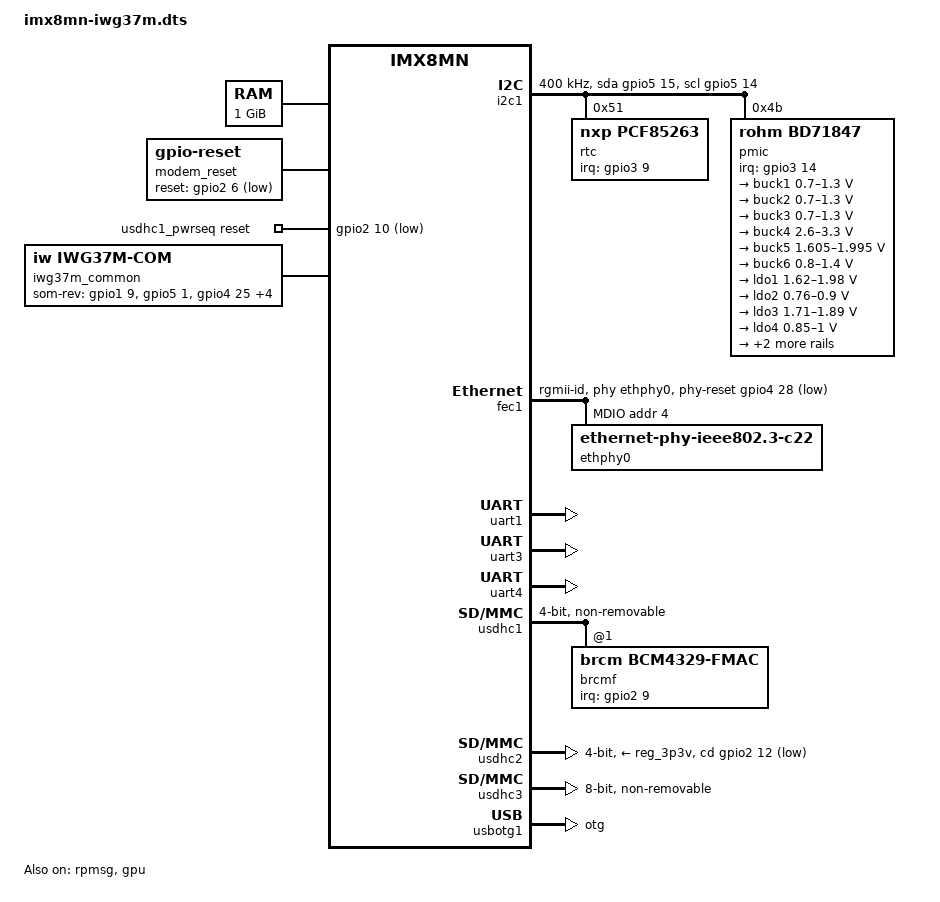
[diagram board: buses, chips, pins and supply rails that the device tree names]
/*
 * Copyright (C) 2020 iWave System Technologies Pvt Ltd.
 *
 * This program is free software; you can redistribute it and/or
 * modify it under the terms of the GNU General Public License
 * as published by the Free Software Foundation; either version 2
 * of the License, or (at your option) any later version.
 *
 * This program is distributed in the hope that it will be useful,
 * but WITHOUT ANY WARRANTY; without even the implied warranty of
 * MERCHANTABILITY or FITNESS FOR A PARTICULAR PURPOSE.  See the
 * GNU General Public License for more details.
 */

/dts-v1/;

#include <dt-bindings/usb/pd.h>
#include "imx8mn.dtsi"

/ {

	aliases { /* SD/MMC: eMMC/SD slot numbering fix */
                mmc0 = &usdhc3;
                mmc1 = &usdhc2;
                mmc2 = &usdhc1;
        };

	chosen {
		bootargs = "console=ttymxc3,115200 earlycon=ec_imx6q,0x30a60000,115200";
		stdout-path = &uart4;
	};

	memory@40000000 { /* RAM: 1GB Memory support */
		device_type = "memory";
		reg = <0x0 0x40000000 0 0x40000000>;
	};

	reserved-memory { /* RAM: 1GB Memory support */
		#address-cells = <2>;
		#size-cells = <2>;
		ranges;

		/* global autoconfigured region for contiguous allocations */
		linux,cma {
			compatible = "shared-dma-pool";
			reusable;
			size = <0 0x14000000>;
			alloc-ranges = <0 0x40000000 0 0x30000000>;
			linux,cma-default;
		};

		m_core_reserved: m_core@0x60000000 {
                        no-map;
                        reg = <0 0x60000000 0 0x1000000>;
                };

                vdev0vring0: vdev0vring0@78000000 {
                        compatible = "shared-dma-pool";
                        reg = <0 0x78000000 0 0x8000>;
                        no-map;
                };

                vdev0vring1: vdev0vring1@78008000 {
                        compatible = "shared-dma-pool";
                        reg = <0 0x78008000 0 0x8000>;
                        no-map;
                };
                vdevbuffer: vdevbuffer@78400000 {
                        compatible = "shared-dma-pool";
                        reg = <0 0x78400000 0 0x100000>;
                        no-map;
                };
	};

	modem_reset: modem-reset { /* BT: BT reset */
		compatible = "gpio-reset";
		reset-gpios = <&gpio2 6 GPIO_ACTIVE_LOW>;
		reset-delay-us = <2000>;
		reset-post-delay-ms = <40>;
		#reset-cells = <0>;
	};

	usdhc1_pwrseq: usdhc1_pwrseq { /* WIFI: WIFI power sequence */
		compatible = "mmc-pwrseq-simple";
		pinctrl-names = "default";
		pinctrl-0 = <&pinctrl_usdhc1_gpio>;
		reset-gpios = <&gpio2 10 GPIO_ACTIVE_LOW>;
	};

	iwg37m_common { /* SoC Board Setttings : Board Configuration GPIOs */
		compatible = "iw,iwg37m-com";
		pinctrl-names = "default";
		pinctrl-0 = <&pinctrl_board_cfg>;
		som-rev-gpios = <&gpio1 9 0 &gpio5 1 0 &gpio4 25 0 &gpio4 26 0
				&gpio4 27 0 &gpio2 19 0 &gpio2 20 0 >;
		status = "okay";
	};

	imx8mn-cm7 {
                compatible = "fsl,imx8mn-cm7";
                rsc-da = <0x78000000>;
                mbox-names = "tx", "rx", "rxdb";
                mboxes = <&mu 0 1
                          &mu 1 1
                          &mu 3 1>;
                memory-region = <&vdev0vring0>, <&vdev0vring1>, <&vdevbuffer>;
                status = "okay";
        };
};

&rpmsg{
        /*
         * 64K for one rpmsg instance:
         * --0x78000000~0x7800ffff: pingpong
         */
        vdev-nums = <1>;
        reg = <0x0 0x78000000 0x0 0x10000>;
        memory-region = <&vdevbuffer>;
        status = "okay";
};

&iomuxc {
	pinctrl-names = "default";
	imx8mn-iwg37m {

		pinctrl_fec1: fec1grp { /* Ethernet: IOMUX Pin Configuration */
			fsl,pins = <
				MX8MN_IOMUXC_ENET_MDC_ENET1_MDC			0x3
				MX8MN_IOMUXC_ENET_MDIO_ENET1_MDIO		0x3
				MX8MN_IOMUXC_ENET_TD3_ENET1_RGMII_TD3		0x1f
				MX8MN_IOMUXC_ENET_TD2_ENET1_RGMII_TD2		0x1f
				MX8MN_IOMUXC_ENET_TD1_ENET1_RGMII_TD1		0x1f
				MX8MN_IOMUXC_ENET_TD0_ENET1_RGMII_TD0		0x1f
				MX8MN_IOMUXC_ENET_RD3_ENET1_RGMII_RD3		0x91
				MX8MN_IOMUXC_ENET_RD2_ENET1_RGMII_RD2		0x91
				MX8MN_IOMUXC_ENET_RD1_ENET1_RGMII_RD1		0x91
				MX8MN_IOMUXC_ENET_RD0_ENET1_RGMII_RD0		0x91
				MX8MN_IOMUXC_ENET_TXC_ENET1_RGMII_TXC		0x1f
				MX8MN_IOMUXC_ENET_RXC_ENET1_RGMII_RXC		0x91
				MX8MN_IOMUXC_ENET_RX_CTL_ENET1_RGMII_RX_CTL	0x91
				MX8MN_IOMUXC_ENET_TX_CTL_ENET1_RGMII_TX_CTL	0x1f
				MX8MN_IOMUXC_SAI3_RXFS_GPIO4_IO28		0x19 /* Ethernet Reset GPIO */
			>;
		};

		pinctrl_flexspi0: flexspi0grp { /* QSPI : IOMUX Pin Configuration */
			fsl,pins = <
				MX8MN_IOMUXC_NAND_ALE_QSPI_A_SCLK 		0x1c4
				MX8MN_IOMUXC_NAND_CE0_B_QSPI_A_SS0_B 		0x84

				MX8MN_IOMUXC_NAND_DATA00_QSPI_A_DATA0 		0x84
				MX8MN_IOMUXC_NAND_DATA01_QSPI_A_DATA1 		0x84
				MX8MN_IOMUXC_NAND_DATA02_QSPI_A_DATA2 		0x84
			>;
		};

		pinctrl_ecspi1: ecspi1grp { /* ECSPI : ECSPI1 IOMUX Pin Configuration */
			fsl,pins = <
				MX8MN_IOMUXC_ECSPI1_SCLK_ECSPI1_SCLK		0x82
				MX8MN_IOMUXC_ECSPI1_MOSI_ECSPI1_MOSI		0x82
				MX8MN_IOMUXC_ECSPI1_MISO_ECSPI1_MISO		0x82
			>;
		};

		pinctrl_ecspi1_cs: ecspi1cs { /* ECSPI : ECSPI1 SS IOMUX Pin Configuration */
			fsl,pins = <
				MX8MN_IOMUXC_ECSPI1_SS0_GPIO5_IO9		0x40000
			>;
		};

		pinctrl_ecspi2: ecspi2grp { /* ECSPI : ECSPI2 IOMUX Pin Configuration */
			fsl,pins = <
				MX8MN_IOMUXC_ECSPI2_SCLK_ECSPI2_SCLK		0x82
				MX8MN_IOMUXC_ECSPI2_MOSI_ECSPI2_MOSI		0x82
				MX8MN_IOMUXC_ECSPI2_MISO_ECSPI2_MISO		0x82
			>;
		};

		pinctrl_ecspi2_cs: ecspi2cs { /* ECSPI : ECSPI2 SS IOMUX Pin Configuration */
			fsl,pins = <
				MX8MN_IOMUXC_ECSPI2_SS0_GPIO5_IO13		0x40000
			>;
		};

		pinctrl_ecspi3: ecspi3grp { /* ECSPI : ECSPI3 IOMUX Pin Configuration */
			fsl,pins = <
				MX8MN_IOMUXC_UART1_RXD_ECSPI3_SCLK		0x82
				MX8MN_IOMUXC_UART1_TXD_ECSPI3_MOSI		0x82
				MX8MN_IOMUXC_UART2_RXD_ECSPI3_MISO		0x82
			>;
		};

		pinctrl_ecspi3_cs: ecspi3cs { /* ECSPI : ECSPI2 SS IOMUX Pin Configuration */
			fsl,pins = <
				MX8MN_IOMUXC_UART2_TXD_GPIO5_IO25		0x40000
			>;
		};

		pinctrl_i2c1: i2c1grp { /* I2C1: IOMUX Pin Configuration */
			fsl,pins = <
				MX8MN_IOMUXC_I2C1_SCL_I2C1_SCL			0x400001c3
				MX8MN_IOMUXC_I2C1_SDA_I2C1_SDA			0x400001c3
			>;
		};

		pinctrl_i2c1_gpio: i2c1grp-gpio { /* I2C1: I2C GPIO IOMUX Pin Configuration */
			fsl,pins = <
				MX8MN_IOMUXC_I2C1_SCL_GPIO5_IO14		0x1c3
				MX8MN_IOMUXC_I2C1_SDA_GPIO5_IO15		0x1c3
			>;
		};

		pinctrl_pmic: pmicirq { /* PMIC: IOMUX Pin Configuration */
			fsl,pins = <
				MX8MN_IOMUXC_NAND_DQS_GPIO3_IO14		0x41 /* PMIC Interrupt GPIO */
			>;
		};

		pinctrl_rtc: rtcirq { /* RTC: IOMUX Pin Configuration */
			fsl,pins = <
				MX8MN_IOMUXC_NAND_DATA03_GPIO3_IO9		0x41 /* RTC Interrupt GPIO */
			>;
		};

		pinctrl_uart1: uart1grp { /* UART1: Bluetooth: IOMUX Pin Configuration */
			fsl,pins = <
				MX8MN_IOMUXC_SAI2_RXFS_UART1_DCE_TX		0x140
				MX8MN_IOMUXC_SAI2_RXC_UART1_DCE_RX		0x140
				MX8MN_IOMUXC_SAI2_RXD0_UART1_DCE_RTS_B		0x140
				MX8MN_IOMUXC_SAI2_TXFS_UART1_DCE_CTS_B		0x140
				MX8MN_IOMUXC_SD1_DATA4_GPIO2_IO6		0x19
			>;
		};

		pinctrl_uart3: uart3grp { /* UART3: M4 UART: IOMUX Pin Configuration */
			fsl,pins = <
				MX8MN_IOMUXC_UART3_TXD_UART3_DCE_TX		0x140
				MX8MN_IOMUXC_UART3_RXD_UART3_DCE_RX		0x140
			>;
		};

		pinctrl_uart4: uart4grp { /* UART4: Debug UART: IOMUX Pin Configuration */
			fsl,pins = <
				MX8MN_IOMUXC_UART4_RXD_UART4_DCE_RX		0x140
				MX8MN_IOMUXC_UART4_TXD_UART4_DCE_TX		0x140
			>;
		};

		pinctrl_usdhc1_gpio: usdhc1grpgpio {
			fsl,pins = <
				MX8MN_IOMUXC_SD1_RESET_B_GPIO2_IO10		0x41 /* USDHC1: WiFi: Reset GPIO IOMUX Pin Configuration */
			>;
		};

		pinctrl_usdhc1: usdhc1grp { /* USDHC1: SOM Micro SD/WiFi: IOMUX Pin Configuration */
			fsl,pins = <
				MX8MN_IOMUXC_SD1_CLK_USDHC1_CLK			0x190
				MX8MN_IOMUXC_SD1_CMD_USDHC1_CMD			0x1d0
				MX8MN_IOMUXC_SD1_DATA0_USDHC1_DATA0		0x1d0
				MX8MN_IOMUXC_SD1_DATA1_USDHC1_DATA1		0x1d0
				MX8MN_IOMUXC_SD1_DATA2_USDHC1_DATA2		0x1d0
				MX8MN_IOMUXC_SD1_DATA3_USDHC1_DATA3		0x1d0
				MX8MN_IOMUXC_SD1_STROBE_GPIO2_IO11      	0x159
				MX8MN_IOMUXC_GPIO1_IO03_GPIO1_IO3       	0x016
			>;
		};

		pinctrl_usdhc1_100mhz: usdhc1grp100mhz {
			fsl,pins = <
				MX8MN_IOMUXC_SD1_CLK_USDHC1_CLK			0x194
				MX8MN_IOMUXC_SD1_CMD_USDHC1_CMD			0x1d4
				MX8MN_IOMUXC_SD1_DATA0_USDHC1_DATA0		0x1d4
				MX8MN_IOMUXC_SD1_DATA1_USDHC1_DATA1		0x1d4
				MX8MN_IOMUXC_SD1_DATA2_USDHC1_DATA2		0x1d4
				MX8MN_IOMUXC_SD1_DATA3_USDHC1_DATA3		0x1d4
				MX8MN_IOMUXC_SD1_STROBE_GPIO2_IO11      	0x159
				MX8MN_IOMUXC_GPIO1_IO03_GPIO1_IO3       	0x016
			>;
		};

		pinctrl_usdhc1_200mhz: usdhc1grp200mhz {
			fsl,pins = <
				MX8MN_IOMUXC_SD1_CLK_USDHC1_CLK			0x196
				MX8MN_IOMUXC_SD1_CMD_USDHC1_CMD			0x1d6
				MX8MN_IOMUXC_SD1_DATA0_USDHC1_DATA0		0x1d6
				MX8MN_IOMUXC_SD1_DATA1_USDHC1_DATA1		0x1d6
				MX8MN_IOMUXC_SD1_DATA2_USDHC1_DATA2		0x1d6
				MX8MN_IOMUXC_SD1_DATA3_USDHC1_DATA3		0x1d6
				MX8MN_IOMUXC_SD1_STROBE_GPIO2_IO11      	0x159
				MX8MN_IOMUXC_GPIO1_IO03_GPIO1_IO3       	0x016
			>;
		};

		pinctrl_wlan: wlangrp { /* WiFi: IOMUX Pin Configuration */
                        fsl,pins = <
                                MX8MN_IOMUXC_SD1_DATA7_GPIO2_IO9                0x111 /* WIFI Host Wake GPIO */
                        >;
                };

		pinctrl_usdhc2_gpio: usdhc2grpgpio { /* USDHC2: Carrier Micro SD: Card Detect GPIO IOMUX Pin Configuration */
			fsl,pins = <
				MX8MN_IOMUXC_SD2_CD_B_GPIO2_IO12        	0x41 /* SD2 Card Detect GPIO */
			>;
		};

		pinctrl_usdhc2: usdhc2grp { /* USDHC2: Carrier Micro SD: IOMUX Pin Configuration */
			fsl,pins = <
				MX8MN_IOMUXC_SD2_CLK_USDHC2_CLK			0x190
				MX8MN_IOMUXC_SD2_CMD_USDHC2_CMD			0x1d0
				MX8MN_IOMUXC_SD2_DATA0_USDHC2_DATA0		0x1d0
				MX8MN_IOMUXC_SD2_DATA1_USDHC2_DATA1		0x1d0
				MX8MN_IOMUXC_SD2_DATA2_USDHC2_DATA2		0x1d0
				MX8MN_IOMUXC_SD2_DATA3_USDHC2_DATA3		0x1d0
				MX8MN_IOMUXC_GPIO1_IO04_USDHC2_VSELECT		0x1d0
			>;
		};

		pinctrl_usdhc2_100mhz: usdhc2grp100mhz {
			fsl,pins = <
				MX8MN_IOMUXC_SD2_CLK_USDHC2_CLK			0x194
				MX8MN_IOMUXC_SD2_CMD_USDHC2_CMD			0x1d4
				MX8MN_IOMUXC_SD2_DATA0_USDHC2_DATA0		0x1d4
				MX8MN_IOMUXC_SD2_DATA1_USDHC2_DATA1		0x1d4
				MX8MN_IOMUXC_SD2_DATA2_USDHC2_DATA2		0x1d4
				MX8MN_IOMUXC_SD2_DATA3_USDHC2_DATA3		0x1d4
				MX8MN_IOMUXC_GPIO1_IO04_USDHC2_VSELECT		0x1d0
			>;
		};

		pinctrl_usdhc2_200mhz: usdhc2grp200mhz {
			fsl,pins = <
				MX8MN_IOMUXC_SD2_CLK_USDHC2_CLK			0x196
				MX8MN_IOMUXC_SD2_CMD_USDHC2_CMD			0x1d6
				MX8MN_IOMUXC_SD2_DATA0_USDHC2_DATA0		0x1d6
				MX8MN_IOMUXC_SD2_DATA1_USDHC2_DATA1		0x1d6
				MX8MN_IOMUXC_SD2_DATA2_USDHC2_DATA2		0x1d6
				MX8MN_IOMUXC_SD2_DATA3_USDHC2_DATA3		0x1d6
				MX8MN_IOMUXC_GPIO1_IO04_USDHC2_VSELECT		0x1d0
			>;
		};

		pinctrl_usdhc3: usdhc3grp { /* USDHC3: EMMC: IOMUX Pin Configuration*/
			fsl,pins = <
				MX8MN_IOMUXC_NAND_WE_B_USDHC3_CLK		0x190
				MX8MN_IOMUXC_NAND_WP_B_USDHC3_CMD		0x1d0
				MX8MN_IOMUXC_NAND_DATA04_USDHC3_DATA0		0x1d0
				MX8MN_IOMUXC_NAND_DATA05_USDHC3_DATA1		0x1d0
				MX8MN_IOMUXC_NAND_DATA06_USDHC3_DATA2		0x1d0
				MX8MN_IOMUXC_NAND_DATA07_USDHC3_DATA3		0x1d0
				MX8MN_IOMUXC_NAND_RE_B_USDHC3_DATA4		0x1d0
				MX8MN_IOMUXC_NAND_CE2_B_USDHC3_DATA5		0x1d0
				MX8MN_IOMUXC_NAND_CE3_B_USDHC3_DATA6		0x1d0
				MX8MN_IOMUXC_NAND_CLE_USDHC3_DATA7		0x1d0
				MX8MN_IOMUXC_NAND_CE1_B_USDHC3_STROBE 		0x190
			>;
		};

		pinctrl_usdhc3_100mhz: usdhc3grp100mhz {
			fsl,pins = <
				MX8MN_IOMUXC_NAND_WE_B_USDHC3_CLK		0x194
				MX8MN_IOMUXC_NAND_WP_B_USDHC3_CMD		0x1d4
				MX8MN_IOMUXC_NAND_DATA04_USDHC3_DATA0		0x1d4
				MX8MN_IOMUXC_NAND_DATA05_USDHC3_DATA1		0x1d4
				MX8MN_IOMUXC_NAND_DATA06_USDHC3_DATA2		0x1d4
				MX8MN_IOMUXC_NAND_DATA07_USDHC3_DATA3		0x1d4
				MX8MN_IOMUXC_NAND_RE_B_USDHC3_DATA4		0x1d4
				MX8MN_IOMUXC_NAND_CE2_B_USDHC3_DATA5		0x1d4
				MX8MN_IOMUXC_NAND_CE3_B_USDHC3_DATA6		0x1d4
				MX8MN_IOMUXC_NAND_CLE_USDHC3_DATA7		0x1d4
				MX8MN_IOMUXC_NAND_CE1_B_USDHC3_STROBE 		0x194
			>;
		};

		pinctrl_usdhc3_200mhz: usdhc3grp200mhz {
			fsl,pins = <
				MX8MN_IOMUXC_NAND_WE_B_USDHC3_CLK		0x196
				MX8MN_IOMUXC_NAND_WP_B_USDHC3_CMD		0x1d6
				MX8MN_IOMUXC_NAND_DATA04_USDHC3_DATA0		0x1d6
				MX8MN_IOMUXC_NAND_DATA05_USDHC3_DATA1		0x1d6
				MX8MN_IOMUXC_NAND_DATA06_USDHC3_DATA2		0x1d6
				MX8MN_IOMUXC_NAND_DATA07_USDHC3_DATA3		0x1d6
				MX8MN_IOMUXC_NAND_RE_B_USDHC3_DATA4		0x1d6
				MX8MN_IOMUXC_NAND_CE2_B_USDHC3_DATA5		0x1d6
				MX8MN_IOMUXC_NAND_CE3_B_USDHC3_DATA6		0x1d6
				MX8MN_IOMUXC_NAND_CLE_USDHC3_DATA7		0x1d6
				MX8MN_IOMUXC_NAND_CE1_B_USDHC3_STROBE 		0x196
			>;
		};

		pinctrl_board_cfg: brd_cfg { /* SoC Board Settings: IOMUX Pin Configuration */
			fsl,pins = <
				MX8MN_IOMUXC_GPIO1_IO09_GPIO1_IO9		0x1d0
				MX8MN_IOMUXC_SAI3_TXD_GPIO5_IO1			0x1d5
				MX8MN_IOMUXC_SAI2_TXC_GPIO4_IO25		0x1d5
				MX8MN_IOMUXC_SAI2_TXD0_GPIO4_IO26		0x1d5
				MX8MN_IOMUXC_SAI2_MCLK_GPIO4_IO27		0x1d5
				MX8MN_IOMUXC_SD2_RESET_B_GPIO2_IO19		0x1d5
				MX8MN_IOMUXC_SD2_WP_GPIO2_IO20			0x1d5
			>;
		};

		pinctrl_usbotg: usb2grp {  /*USB1: USB OTG IOMUX Pin COnfiguration */
			fsl,pins = <
				MX8MN_IOMUXC_GPIO1_IO12_GPIO1_IO12		0x41
				MX8MN_IOMUXC_GPIO1_IO13_GPIO1_IO13		0x41
			>;

		};
	};
};


&flexspi { /* QSPI: SPI */
	pinctrl-names = "default";
	pinctrl-0 = <&pinctrl_flexspi0>;
	status = "disabled";

	flash0: mt25qu256aba@0 {
		reg = <0>;
		#address-cells = <1>;
		#size-cells = <1>;
		compatible = "jedec,spi-nor";
		spi-max-frequency = <80000000>;
		spi-tx-bus-width = <4>;
		spi-rx-bus-width = <4>;
	};
};

&ecspi1 { /* QSPI: ECSPI1 */
	#address-cells = <1>;
	#size-cells = <0>;
	fsl,spi-num-chipselects = <1>;
	pinctrl-names = "default";
	pinctrl-0 = <&pinctrl_ecspi1 &pinctrl_ecspi1_cs>;
	cs-gpios = <&gpio5 9 GPIO_ACTIVE_LOW>;
	status = "disabled";
};

&ecspi2 { /* QSPI: ECSPI2 */
	#address-cells = <1>;
	#size-cells = <0>;
	fsl,spi-num-chipselects = <1>;
	pinctrl-names = "default";
	pinctrl-0 = <&pinctrl_ecspi2 &pinctrl_ecspi2_cs>;
	cs-gpios = <&gpio5 13 GPIO_ACTIVE_LOW>;
	status = "disabled";
};

&ecspi3 { /* QSPI: ECSPI3 */
	#address-cells = <1>;
	#size-cells = <0>;
	fsl,spi-num-chipselects = <1>;
	pinctrl-names = "default";
	pinctrl-0 = <&pinctrl_ecspi3 &pinctrl_ecspi3_cs>;
	cs-gpios = <&gpio5 25 GPIO_ACTIVE_LOW>;
	status = "disabled";
};

&i2c1 { /* I2C: I2C1 Bus */
	clock-frequency = <400000>;
	pinctrl-names = "default", "gpio";
	pinctrl-0 = <&pinctrl_i2c1>;
	pinctrl-1 = <&pinctrl_i2c1_gpio>;
	scl-gpios = <&gpio5 14 GPIO_ACTIVE_HIGH>;
	sda-gpios = <&gpio5 15 GPIO_ACTIVE_HIGH>;
	status = "okay";
	
	rtc: rtc@51 { /* RTC: PCF85263 RTC */
		compatible = "nxp,pcf85263";
		reg = <0x51>;
		pinctrl-names = "default";
		pinctrl-0 = <&pinctrl_rtc>;
		interrupt-parent = <&gpio3>;
		interrupts = <9 IRQ_TYPE_LEVEL_LOW>;
		interrupt-names = "INTA";
		status = "okay";
	};

	pmic: pmic@4b { /* PMIC: PMIC BD71847MWV */
		compatible = "rohm,bd71847";
		reg = <0x4b>;
		pinctrl-names = "default";
		pinctrl-0 = <&pinctrl_pmic>;
		interrupt-parent = <&gpio3>;
		interrupts = <14 GPIO_ACTIVE_LOW>;
		interrupt-names = "irq";
		#clock-cells = <0>;
		clocks = <&osc 0>;
		clock-output-names = "bd71837-32k-out";
		rohm,reset-snvs-powered;
		/* <run,idle,susp> */
		rohm,pmic-buck1-dvs-voltage = <950000>, <850000>, <850000>;
		rohm,pmic-buck2-dvs-voltage = <1000000>, <900000>;

		regulators {
			#address-cells = <1>;
			#size-cells = <0>;

			buck1: BUCK1 {
				reg = <0>;
				regulator-name = "buck1";
				regulator-min-microvolt = <700000>;
				regulator-max-microvolt = <1300000>;
				regulator-boot-on;
				regulator-always-on;
				regulator-ramp-delay = <1250>;
				rohm,dvs-run-voltage = <950000>;
				rohm,dvs-idle-voltage = <850000>;
				rohm,dvs-suspend-voltage = <850000>;
			};

			buck2: BUCK2 {
				reg = <1>;
				regulator-name = "buck2";
				regulator-min-microvolt = <700000>;
				regulator-max-microvolt = <1300000>;
				regulator-boot-on;
				regulator-always-on;
				regulator-ramp-delay = <1250>;
				rohm,dvs-run-voltage = <1000000>;
				rohm,dvs-idle-voltage = <900000>;
			};

			buck3: BUCK3 {
				reg = <2>;
				regulator-name = "buck3";
				regulator-min-microvolt = <700000>;
				regulator-max-microvolt = <1300000>;
				regulator-boot-on;
				regulator-always-on;
			};

			buck4: BUCK4 {
				reg = <3>;
				regulator-name = "buck4";
				regulator-min-microvolt = <2600000>;
				regulator-max-microvolt = <3300000>;
				regulator-boot-on;
				regulator-always-on;
			};

			buck5: BUCK5 {
				reg = <4>;
				regulator-name = "buck5";
				regulator-min-microvolt = <1605000>;
				regulator-max-microvolt = <1995000>;
				regulator-boot-on;
				regulator-always-on;
			};

			buck6: BUCK6 {
				reg = <5>;
				regulator-name = "buck6";
				regulator-min-microvolt = <800000>;
				regulator-max-microvolt = <1400000>;
				regulator-boot-on;
				regulator-always-on;
			};

			ldo1: LDO1 {
				reg = <6>;
				regulator-name = "ldo1";
				regulator-min-microvolt = <1620000>;
				regulator-max-microvolt = <1980000>;
				regulator-boot-on;
				regulator-always-on;
			};
			ldo2: LDO2 {
				regulator-name = "ldo2";
				regulator-min-microvolt = <760000>;
				regulator-max-microvolt = <900000>;
				regulator-boot-on;
				regulator-always-on;
			};
			ldo3: LDO3 {
				regulator-name = "ldo3";
				regulator-min-microvolt = <1710000>;
				regulator-max-microvolt = <1890000>;
				regulator-boot-on;
				regulator-always-on;
			};
			ldo4: LDO4 {
				regulator-name = "ldo4";
				regulator-min-microvolt = <850000>;
				regulator-max-microvolt = <1000000>;
				regulator-boot-on;
				regulator-always-on;
			};
			ldo5: LDO5 {
				regulator-name = "ldo5";
				regulator-min-microvolt = <1800000>;
				regulator-max-microvolt = <3300000>;
				regulator-boot-on;
				regulator-always-on;
			};
			ldo6: LDO6 {
				regulator-name = "ldo6";
				regulator-min-microvolt = <1140000>;
				regulator-max-microvolt = <1260000>;
				regulator-boot-on;
				regulator-always-on;
			};
		};
	};
};

&fec1 { /* FEC1: AR8031 PHY ENET */
	pinctrl-names = "default";
	pinctrl-0 = <&pinctrl_fec1>;
	phy-mode = "rgmii-id";
	phy-handle = <&ethphy0>;
	phy-reset-gpios = <&gpio4 28 GPIO_ACTIVE_LOW>;
	fsl,magic-packet;
	status = "okay";

	mdio {
		#address-cells = <1>;
		#size-cells = <0>;

		ethphy0: ethernet-phy@0 {
			compatible = "ethernet-phy-ieee802.3-c22";
			reg = <4>;
			at803x,led-act-blind-workaround;
			at803x,eee-disabled;
			at803x,vddio-1p8v;
		};
	};
};

&uart1 { /* UART1: Bluetooth */
	pinctrl-names = "default";
	pinctrl-0 = <&pinctrl_uart1>;
	assigned-clocks = <&clk IMX8MN_CLK_UART1>;
	assigned-clock-parents = <&clk IMX8MN_SYS_PLL1_80M>;
	fsl,uart-has-rtscts;
	resets = <&modem_reset>;
	status = "okay";
};

&uart3 { /* UART3: M4 UART */
	pinctrl-names = "default";
	pinctrl-0 = <&pinctrl_uart3>;
	status = "okay";
};

&uart4 { /* UART4: Debug UART */
	pinctrl-names = "default";
	pinctrl-0 = <&pinctrl_uart4>;
	status = "okay";
};

&usdhc1 { /* USDHC1: WiFi */
	#address-cells = <1>;
	#size-cells = <0>;
	pinctrl-names = "default", "state_100mhz", "state_200mhz";
	pinctrl-0 = <&pinctrl_usdhc1>, <&pinctrl_wlan>;
	pinctrl-1 = <&pinctrl_usdhc1_100mhz>, <&pinctrl_wlan>;
	pinctrl-2 = <&pinctrl_usdhc1_200mhz>, <&pinctrl_wlan>;
	bus-width = <4>;
	pm-ignore-notify;
	keep-power-in-suspend;
	non-removable;
	cap-power-off-card;
	mmc-pwrseq = <&usdhc1_pwrseq>;
	status = "okay";

	brcmf: bcrmf@1 {
		reg = <1>;
		compatible = "brcm,bcm4329-fmac";
		interrupt-parent = <&gpio2>;
		interrupts = <9 IRQ_TYPE_LEVEL_HIGH>;
		interrupt-names = "host-wake";
		status = "okay";
	};
};

&usdhc2 {  /* USDHC2: Carrier Micro SD */
	pinctrl-names = "default", "state_100mhz", "state_200mhz";
	pinctrl-0 = <&pinctrl_usdhc2>, <&pinctrl_usdhc2_gpio>;
	pinctrl-1 = <&pinctrl_usdhc2_100mhz>, <&pinctrl_usdhc2_gpio>;
	pinctrl-2 = <&pinctrl_usdhc2_200mhz>, <&pinctrl_usdhc2_gpio>;
	no-1-8-v;
	cd-gpios = <&gpio2 12 GPIO_ACTIVE_LOW>;
	bus-width = <4>;
	vmmc-supply = <&reg_3p3v>;
	status = "okay";
};

&usdhc3 {  /*USDHC3: EMMC */
	pinctrl-names = "default", "state_100mhz", "state_200mhz";
	pinctrl-0 = <&pinctrl_usdhc3>;
	pinctrl-1 = <&pinctrl_usdhc3_100mhz>;
	pinctrl-2 = <&pinctrl_usdhc3_200mhz>;
	bus-width = <8>;
	non-removable;
	status = "okay";
};

&usbotg1 { /* USB1: USB OTG */
	pinctrl-names = "default";
	pinctrl-0 = <&pinctrl_usbotg>;
	dr_mode = "otg";
	hnp-disable;
	srp-disable;
	adp-disable;
	otg-pwr-gpio = <&gpio1 12 GPIO_ACTIVE_LOW>;
	otg-oc-gpio = <&gpio1 13 GPIO_ACTIVE_LOW>;
	status = "okay";
};

&gpu { /* GPU */
	reg = <0x0 0x38000000 0 0x40000>, <0x0 0x40000000 0x0 0x40000000>, <0x0 0x0 0x0 0x4000000>;
	status = "okay";
};
